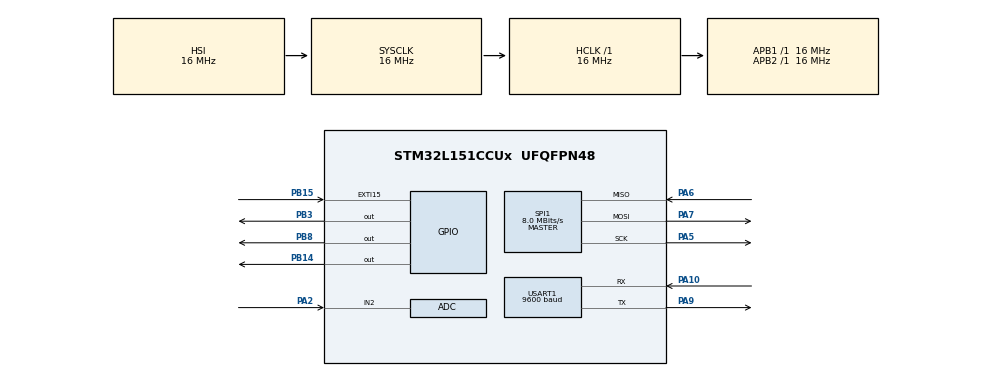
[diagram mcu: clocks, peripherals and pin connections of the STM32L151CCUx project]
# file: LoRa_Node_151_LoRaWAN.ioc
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Mcu.Family=STM32L1
PA6.Mode=Full_Duplex_Master
PH0-OSC_IN.Signal=RCC_OSC_IN
NVIC.DMA1_Channel5_IRQn=true\:0\:0\:false\:false\:true\:false\:true
SPI1.VirtualType=VM_MASTER
ADC.Rank-0\#ChannelRegularConversion=1
USART1.BaudRate=9600
VP_RTC_VS_RTC_Activate.Mode=RTC_Enabled
PB15.Signal=GPXTI15
VP_RTC_VS_RTC_Alarm_A_Intern.Mode=Alarm A
RCC.SYSCLKSource=RCC_SYSCLKSOURCE_HSI
ProjectManager.StackSize=0x400
Dma.USART1_TX.0.Priority=DMA_PRIORITY_LOW
Dma.USART1_TX.0.Direction=DMA_MEMORY_TO_PERIPH
SPI1.Direction=SPI_DIRECTION_2LINES
RCC.HCLKFreq_Value=16000000
RCC.APB2TimFreq_Value=16000000
SPI1.CalculateBaudRate=8.0 MBits/s
Dma.USART1_RX.1.MemInc=DMA_MINC_ENABLE
RCC.AHBFreq_Value=16000000
PH0-OSC_IN.Mode=HSE-External-Oscillator
NVIC.EXTI15_10_IRQn=true\:0\:0\:false\:false\:true\:true\:true
RCC.HSE_VALUE=8000000
Dma.USART1_RX.1.PeriphDataAlignment=DMA_PDATAALIGN_BYTE
RCC.RTCClockSelection=RCC_RTCCLKSOURCE_LSE
RCC.PLLMUL=RCC_PLL_MUL12
PC14-OSC32_IN.Mode=LSE-External-Oscillator
RCC.RTCClockSelectionVirtual=RCC_RTCCLKSOURCE_LSE
PA14.Mode=Serial_Wire
Dma.USART1_TX.0.PeriphDataAlignment=DMA_PDATAALIGN_BYTE
Dma.USART1_RX.1.Mode=DMA_NORMAL
PH1-OSC_OUT.Mode=HSE-External-Oscillator
Mcu.Package=UFQFPN48
PA6.Signal=SPI1_MISO
PA10.Signal=USART1_RX
VP_RTC_VS_RTC_Calendar.Mode=RTC_Calendar
ADC.Channel-0\#ChannelRegularConversion=ADC_CHANNEL_2
Dma.USART1_TX.0.Instance=DMA1_Channel4
Dma.USART1_RX.1.PeriphInc=DMA_PINC_DISABLE
Dma.Request1=USART1_RX
RCC.APB1TimFreq_Value=16000000
Dma.USART1_RX.1.Priority=DMA_PRIORITY_LOW
NVIC.DMA1_Channel4_IRQn=true\:0\:0\:false\:false\:true\:false\:true
NVIC.USART1_IRQn=true\:0\:0\:false\:false\:true\:true\:true
Dma.Request0=USART1_TX
PA5.Mode=Full_Duplex_Master
RCC.MSI_VALUE=2097000
RCC.PLLSourceVirtual=RCC_PLLSOURCE_HSE
PC15-OSC32_OUT.Mode=LSE-External-Oscillator
Dma.USART1_RX.1.Instance=DMA1_Channel5
Dma.USART1_RX.1.MemDataAlignment=DMA_MDATAALIGN_BYTE
Dma.USART1_TX.0.MemInc=DMA_MINC_ENABLE
PA7.Mode=Full_Duplex_Master
Dma.USART1_TX.0.PeriphInc=DMA_PINC_DISABLE
PA10.Mode=Asynchronous
PC14-OSC32_IN.Signal=RCC_OSC32_IN
PA13.Signal=SYS_JTMS-SWDIO
PA9.Mode=Asynchronous
PB14.PinState=GPIO_PIN_RESET
ProjectManager.TargetToolchain=STM32CubeIDE
PA9.Signal=USART1_TX
ADC.NbrOfConversionFlag=1
PC15-OSC32_OUT.Signal=RCC_OSC32_OUT
PB14.Signal=GPIO_Output
PA5.Signal=SPI1_SCK
PB15.GPIO_ModeDefaultEXTI=GPIO_MODE_IT_RISING
Dma.USART1_TX.0.Mode=DMA_NORMAL
board=custom
RCC.VCOOutputFreq_Value=96000000
RCC.APB2Freq_Value=16000000
SPI1.Mode=SPI_MODE_MASTER
PH1-OSC_OUT.Signal=RCC_OSC_OUT
PA13.Mode=Serial_Wire
Mcu.Name=STM32L151CCUx
RTC.Alarm-Alarm\ A=RTC_ALARM_A
PA2.Signal=ADC_IN2
RCC.48MHZClocksFreq_Value=48000000
PB3.Signal=GPIO_Output
RCC.SYSCLKFreq_VALUE=16000000
USART1.VirtualMode=VM_ASYNC
Dma.USART1_TX.0.MemDataAlignment=DMA_MDATAALIGN_BYTE
PA14.Signal=SYS_JTCK-SWCLK
ProjectManager.HeapSize=0x200
RCC.HSI_VALUE=16000000
NVIC.PriorityGroup=NVIC_PRIORITYGROUP_4
PA2.Mode=IN2
PB8.Signal=GPIO_Output
ADC.SamplingTime-0\#ChannelRegularConversion=ADC_SAMPLETIME_4CYCLES
Dma.USART1_RX.1.Direction=DMA_PERIPH_TO_MEMORY
RCC.APB1Freq_Value=16000000
PA7.Signal=SPI1_MOSI

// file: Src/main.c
/* USER CODE BEGIN Header */
/**
  ******************************************************************************
  * @file           : main.c
  * @brief          : Main program body
  ******************************************************************************
  * @attention
  *
  * <h2><center>&copy; Copyright (c) 2021 STMicroelectronics.
  * All rights reserved.</center></h2>
  *
  * This software component is licensed by ST under Ultimate Liberty license
  * SLA0044, the "License"; You may not use this file except in compliance with
  * the License. You may obtain a copy of the License at:
  *                             www.st.com/SLA0044
  *
  ******************************************************************************
  */
/* USER CODE END Header */
#include "main.h"

/* USER CODE BEGIN Includes */
#include "SAM_M8Q/SAM_M8Q.h"
#include <string.h>
#include <math.h>
#include "board.h"
#include "LoRaMac.h"
#include "Commissioning.h"
#include "LoRaWan_APP.h"
#include <stdint.h>

#include "Bewegungssensor.h"
/* USER CODE END Includes */

ADC_HandleTypeDef hadc;

RTC_HandleTypeDef hrtc;

SPI_HandleTypeDef hspi1;

UART_HandleTypeDef huart1;
DMA_HandleTypeDef hdma_usart1_tx;
DMA_HandleTypeDef hdma_usart1_rx;

/* USER CODE BEGIN PV */
//Dauer des Tiefschlafs in Millisekunden
const uint32_t DutyCycle = 60000;
//globale Variable für Erkennung, ob GNSS-Daten vom Sensor erhalten
bool DatenErhalten = false;

extern Gpio_t	EN_Vext;

//OTA-Activation EUIs und AppKey, vorgegeben vom LoRaWAN-Netzwerk
//Aus Sicherheitsgründen nicht angegeben in GitHub
uint8_t devEui[] = { 0x00, 0x00, 0x00, 0x00, 0x00, 0x00, 0x00, 0x00 };
uint8_t appEui[] = { 0x00, 0x00, 0x00, 0x00, 0x00, 0x00, 0x00, 0x00 };
uint8_t appKey[] = { 0x00, 0x00, 0x00, 0x00, 0x00, 0x00, 0x00, 0x00, 0x00, 0x00, 0x00, 0x00, 0x00, 0x00, 0x00, 0x00 };

/* ABP para*/ //unused
uint8_t nwkSKey[] = { 0x00, 0x00, 0x00, 0x00, 0x00, 0x00, 0x00, 0x00, 0x00, 0x00, 0x00, 0x00, 0x00, 0x00, 0x00, 0x00 };
uint8_t appSKey[] = { 0x00, 0x00, 0x00, 0x00, 0x00, 0x00, 0x00, 0x00, 0x00, 0x00, 0x00, 0x00, 0x00, 0x00, 0x00, 0x00 };
uint32_t devAddr =  ( uint32_t )0x00000000;

/*LoraWan channelsmask, default channels 0-7*/
uint16_t userChannelsMask[6]={ 0x00FF,0x0000,0x0000,0x0000,0x0000,0x0000 };

/*LoraWan region, select in arduino IDE tools*/
LoRaMacRegion_t loraWanRegion = LORAMAC_REGION_EU868;

/*LoraWan Class, Class A and Class C are supported*/
DeviceClass_t  loraWanClass = CLASS_A;

/*the application data transmission duty cycle.  value in [ms].*/
uint32_t appTxDutyCycle = DutyCycle;

/*OTAA or ABP*/
bool overTheAirActivation = true;

/*ADR enable*/
bool loraWanAdr = true;

/* Indicates if the node is sending confirmed or unconfirmed messages */
bool isTxConfirmed = true;

/* Application port */
uint8_t appPort = 2;
/*!
* Number of trials to transmit the frame, if the LoRaMAC layer did not
* receive an acknowledgment. The MAC performs a datarate adaptation,
* according to the LoRaWAN Specification V1.0.2, chapter 18.4, according
* to the following table:
*
* Transmission nb | Data Rate
* ----------------|-----------
* 1 (first)       | DR
* 2               | DR
* 3               | max(DR-1,0)
* 4               | max(DR-1,0)
* 5               | max(DR-2,0)
* 6               | max(DR-2,0)
* 7               | max(DR-3,0)
* 8               | max(DR-3,0)
*
* Note, that if NbTrials is set to 1 or 2, the MAC will not decrease
* the datarate, in case the LoRaMAC layer did not receive an acknowledgment
*/
uint8_t confirmedNbTrials = 1;

extern bool WurdeBewegt;
extern bool WurdeBestaetigt;
/* USER CODE END PV */

void SystemClock_Config(void);
static void MX_GPIO_Init(void);
static void MX_DMA_Init(void);
static void MX_RTC_Init(void);
static void MX_SPI1_Init(void);
static void MX_USART1_UART_Init(void);
static void MX_ADC_Init(void);
/* USER CODE BEGIN PFP */
extern void USB_VCP_init(void);

/* USER CODE END PFP */

/* USER CODE BEGIN 0 */
/*Erfassung des Standortes als Breiten- und Längengrad durch Kommunikation mit MatekSys SAM-M8Q GNSS-Modul

	-Aktivieren des Moduls
	-Erfassung vom Tickstand zum Start des Aufruf
	-Erfragung und Parsing eines Standortes beim GNSS-Modul mit SimpleMethod's GNSS-Bibliothek in einer While-Schleife
	-Falls der Standort nach den in der Antwort angegebenen Werten genau genug ist
		dann valide Standortdaten erhalten
		-> DatenErhalten auf wahr gesetzt
		-> Beenden der Schleife durch erneute Überprüfung der jetzt falschen Bedingung

	-Ansonsten aktuellen Tickstand erfassen
	-Differenz aus aktuellen Tickstand und Startstand berechnen
	-Falls Differenz größer als 400000 Millisekunden,
		dann brich Erfassung ab
		-> DatenErhalten auf Falsch gesetzt, Schleife mit break abgebrochen

	-Deaktivieren des Moduls
	-Falls Standortdaten erhalten,
		dann setze Payload-Größe der LoRa-Nachricht auf 8 Byte
		und kopiere den float-Wert des Breitengrads und des Längengrads in die Payload

	Keine Parameter
	Kein Rückgabewert
*/
static void prepareTxFrame(){
	//GNSS-Modul Power-On
	HAL_GPIO_WritePin(GPIOB, GPIO_PIN_3, GPIO_PIN_RESET);
	HAL_Delay(500);											//Warte für Initialisierung des Moduls

	uint32_t StartTimer = HAL_GetTick();					//Erfasse Startzeit
	uint32_t LoopTimer = 0;
	uint32_t TickDifferenz = 0;
	DatenErhalten = false;

	while(!DatenErhalten){
		GNSS_GetPVTData(&GNSS_Handle);						//Erfasse Standort
		GNSS_ParseBuffer(&GNSS_Handle);						//Parse erhaltene Antwort

		if(GNSS_Handle.hAcc > 5000 && GNSS_Handle.vAcc > 5000 &&
				GNSS_Handle.hAcc < 1000000 && GNSS_Handle.vAcc < 1000000){
			DatenErhalten = true;
			continue;
		}

		LoopTimer = HAL_GetTick();					//Erfasse Durchlaufszeit und die Differenz
		TickDifferenz = LoopTimer - StartTimer;

		//Falls Differenz größer als 400 Sekunden, dann brich Erfassung ab
		if(TickDifferenz>400000){
			break;
		}
		HAL_Delay(1000);
	}
	//GNSS-Modul Power-Off
	HAL_GPIO_WritePin(GPIOB, GPIO_PIN_3, GPIO_PIN_SET);

	if(DatenErhalten){
	    appDataSize = 8;
	    memcpy(&appData[0], &GNSS_Handle.fLat,4);
	    memcpy(&appData[4], &GNSS_Handle.fLon,4);
	}
}
/* USER CODE END 0 */

int main(void)
{

  /* MCU Configuration--------------------------------------------------------*/

  /* Reset of all peripherals, Initializes the Flash interface and the Systick. */
  HAL_Init();

  /* Configure the system clock */
  SystemClock_Config();

  /* Initialize all configured peripherals */
  MX_GPIO_Init();
  MX_DMA_Init();
  MX_RTC_Init();
  MX_SPI1_Init();
  MX_USART1_UART_Init();
  MX_ADC_Init();
  /* USER CODE BEGIN 2 */
  //Initialisierung des STM32 durch Heltec-Bibliothek
  //Clock, RTC, unbenutze GPIOs, SPI, LoRa-Chip SX1276
  BoardInitMcu();

  //Initialisierung der Bool-Variablen für den Bewegungssensor
  //BewegungInterruptAusgeloest = false;
  //WurdeBewegt = true;
  BewegungssensorInit();

  //globale Variable für Feststellung, ob Bestätigung vom LoRaWAN-Netzwerk erhalten
  //auf Wahr, damit im Falle von unbestätigten Nachrichten keine Veränderungen vorgenommen werden müssen.
  WurdeBestaetigt = true;

  //Initialisierung des Struct für GNSS-Standorterfassung
  //alle Werte werden auf 0 gesetzt
  GNSS_Init(&GNSS_Handle, &huart1);

  //Initialisierungszustand für kommende switch-Maschine
  deviceState = DEVICE_STATE_INIT;
  HAL_Delay(1000);
  /* USER CODE END 2 */

  /* Infinite loop */
  /* USER CODE BEGIN WHILE */
  while (1)
  {
  	switch( deviceState )
		{
			case DEVICE_STATE_INIT:
			{
				//Einstellung des LoRa-Chips mit den oben definierten Variablen (Klasse, ISM-Band...)
				LoraWanInit(loraWanClass,loraWanRegion);

				//Übergang in Join-Zustand
				deviceState = DEVICE_STATE_JOIN;

				break;
			}
			case DEVICE_STATE_JOIN:
			{
				//Versuch, einem LoRaWAN-Netzwerk mit den festgelegten Aktivierungsmodus und den dazugehörigen EUIs/Schlüsseln beizutreten
				//Bei Erfolg, gehe in Send-Zustand
				//Ansonsten versuche erneut mit ggf angepasster Datenrate

				LoraWanJoin();
				break;
			}
			case DEVICE_STATE_SEND:
			{
				//Falls Bewegung erkannt,
				//dann Erfassung des Standortes
					//Falls Standort erfasst, dann Absenden der LoRa-Nachricht
					//und Aktivierung des Bewegungssensor (Zustandpins des Sensors auf High setzen)
				if(WurdeBewegt)
				{
					prepareTxFrame();
					if(DatenErhalten){
						LoraWanSend();
						HoleDenBewegungssensorAusDemSchlaf();
					}
				}

				//Übergang in den Cycle-Zustand
				deviceState = DEVICE_STATE_CYCLE;
				break;
			}
			case DEVICE_STATE_CYCLE:
			{
				// Schedule next packet transmission
				txDutyCycleTime = appTxDutyCycle + randr( 0, APP_TX_DUTYCYCLE_RND );

				//Aktivierung eines Timers für das Aufwachen aus dem Tiefschlaf
				//Nach Ablauf des Timers Prüfung ob im Netzwerk beigetreten
					//Falls dem der Fall ist, dann Übergang in Send-Zustand
					//ansonsten erneuter Join-Beitrittsversuch und
					//je nach Resultat (bei Erfolg) Übergang in Sleep- oder (bei Fehlschlag) in Cycle-Zustand

				//Falls Standort erfasst und Bestätigung erhalten, dann normale Schlafdauer und zurücksetzen der Prüfvariablen auf Falsch
				//Ansonsten halbe Schlafszeit für erneuten Versuch

				if(DatenErhalten && WurdeBestaetigt){
					LoraWanCycle(txDutyCycleTime);
					WurdeBewegt = false;					//Erfasste Bewegung erfolgreich abgearbeitet und Standort übermittelt, neue darf erfasst werden.
				}else{
					LoraWanCycle(txDutyCycleTime/2);
				}
				WurdeBestaetigt = false;
				GNSSDataReset(&GNSS_Handle);
				//Übergang in den Sleep-Zustand
				deviceState = DEVICE_STATE_SLEEP;
				break;
			}
			case DEVICE_STATE_SLEEP:
			{
				//Aktivierung des Tiefschlafes (inklusive deaktivieren des SysTick Timers für Verhinderung eines Interrupts)
				//Nach dem Aufwachen befindet sich die Ausführung nach der Funktion
				TimerLowPowerHandler( );

				//Prüfe, ob der Interrupt des Bewegungssensors aktiviert wurde
					//Ist dem so, dann setze WurdeBewegt auf wahr, setze den Sensor in den Schlafmodus
					//und gehe erneut in den Tiefschlaf zum Aufwachen durch den Timer
				PruefeInterruptStatus();
				break;
			}
			default:
			{
				deviceState = DEVICE_STATE_INIT;
				break;
			}
		}
	//*/
    /* USER CODE END WHILE */

  }
}

void SystemClock_Config(void)
{
  RCC_OscInitTypeDef RCC_OscInitStruct = {0};
  RCC_ClkInitTypeDef RCC_ClkInitStruct = {0};
  RCC_PeriphCLKInitTypeDef PeriphClkInit = {0};

  /** Configure the main internal regulator output voltage
  */
  __HAL_PWR_VOLTAGESCALING_CONFIG(PWR_REGULATOR_VOLTAGE_SCALE1);
  /** Initializes the RCC Oscillators according to the specified parameters
  * in the RCC_OscInitTypeDef structure.
  */
  RCC_OscInitStruct.OscillatorType = RCC_OSCILLATORTYPE_HSI|RCC_OSCILLATORTYPE_LSE;
  RCC_OscInitStruct.LSEState = RCC_LSE_ON;
  RCC_OscInitStruct.HSIState = RCC_HSI_ON;
  RCC_OscInitStruct.HSICalibrationValue = RCC_HSICALIBRATION_DEFAULT;
  RCC_OscInitStruct.PLL.PLLState = RCC_PLL_NONE;
  if (HAL_RCC_OscConfig(&RCC_OscInitStruct) != HAL_OK)
  {
    Error_Handler();
  }
  /** Initializes the CPU, AHB and APB buses clocks
  */
  RCC_ClkInitStruct.ClockType = RCC_CLOCKTYPE_HCLK|RCC_CLOCKTYPE_SYSCLK
                              |RCC_CLOCKTYPE_PCLK1|RCC_CLOCKTYPE_PCLK2;
  RCC_ClkInitStruct.SYSCLKSource = RCC_SYSCLKSOURCE_HSI;
  RCC_ClkInitStruct.AHBCLKDivider = RCC_SYSCLK_DIV1;
  RCC_ClkInitStruct.APB1CLKDivider = RCC_HCLK_DIV1;
  RCC_ClkInitStruct.APB2CLKDivider = RCC_HCLK_DIV1;

  if (HAL_RCC_ClockConfig(&RCC_ClkInitStruct, FLASH_LATENCY_0) != HAL_OK)
  {
    Error_Handler();
  }
  PeriphClkInit.PeriphClockSelection = RCC_PERIPHCLK_RTC;
  PeriphClkInit.RTCClockSelection = RCC_RTCCLKSOURCE_LSE;
  if (HAL_RCCEx_PeriphCLKConfig(&PeriphClkInit) != HAL_OK)
  {
    Error_Handler();
  }
}

static void MX_ADC_Init(void)
{

  ADC_ChannelConfTypeDef sConfig = {0};

  /** Configure the global features of the ADC (Clock, Resolution, Data Alignment and number of conversion)
  */
  hadc.Instance = ADC1;
  hadc.Init.ClockPrescaler = ADC_CLOCK_ASYNC_DIV1;
  hadc.Init.Resolution = ADC_RESOLUTION_12B;
  hadc.Init.DataAlign = ADC_DATAALIGN_RIGHT;
  hadc.Init.ScanConvMode = ADC_SCAN_DISABLE;
  hadc.Init.EOCSelection = ADC_EOC_SEQ_CONV;
  hadc.Init.LowPowerAutoWait = ADC_AUTOWAIT_DISABLE;
  hadc.Init.LowPowerAutoPowerOff = ADC_AUTOPOWEROFF_DISABLE;
  hadc.Init.ChannelsBank = ADC_CHANNELS_BANK_A;
  hadc.Init.ContinuousConvMode = DISABLE;
  hadc.Init.NbrOfConversion = 1;
  hadc.Init.DiscontinuousConvMode = DISABLE;
  hadc.Init.ExternalTrigConv = ADC_SOFTWARE_START;
  hadc.Init.ExternalTrigConvEdge = ADC_EXTERNALTRIGCONVEDGE_NONE;
  hadc.Init.DMAContinuousRequests = DISABLE;
  if (HAL_ADC_Init(&hadc) != HAL_OK)
  {
    Error_Handler();
  }
  /** Configure for the selected ADC regular channel its corresponding rank in the sequencer and its sample time.
  */
  sConfig.Channel = ADC_CHANNEL_2;
  sConfig.Rank = ADC_REGULAR_RANK_1;
  sConfig.SamplingTime = ADC_SAMPLETIME_4CYCLES;
  if (HAL_ADC_ConfigChannel(&hadc, &sConfig) != HAL_OK)
  {
    Error_Handler();
  }

}

static void MX_RTC_Init(void)
{

  RTC_TimeTypeDef sTime = {0};
  RTC_DateTypeDef sDate = {0};
  RTC_AlarmTypeDef sAlarm = {0};

  /** Initialize RTC Only
  */
  hrtc.Instance = RTC;
  hrtc.Init.HourFormat = RTC_HOURFORMAT_24;
  hrtc.Init.AsynchPrediv = 127;
  hrtc.Init.SynchPrediv = 255;
  hrtc.Init.OutPut = RTC_OUTPUT_DISABLE;
  hrtc.Init.OutPutPolarity = RTC_OUTPUT_POLARITY_HIGH;
  hrtc.Init.OutPutType = RTC_OUTPUT_TYPE_OPENDRAIN;
  if (HAL_RTC_Init(&hrtc) != HAL_OK)
  {
    Error_Handler();
  }

  /** Initialize RTC and set the Time and Date
  */
  sTime.Hours = 0x0;
  sTime.Minutes = 0x0;
  sTime.Seconds = 0x0;
  sTime.DayLightSaving = RTC_DAYLIGHTSAVING_NONE;
  sTime.StoreOperation = RTC_STOREOPERATION_RESET;
  if (HAL_RTC_SetTime(&hrtc, &sTime, RTC_FORMAT_BCD) != HAL_OK)
  {
    Error_Handler();
  }
  sDate.WeekDay = RTC_WEEKDAY_MONDAY;
  sDate.Month = RTC_MONTH_JANUARY;
  sDate.Date = 0x1;
  sDate.Year = 0x0;

  if (HAL_RTC_SetDate(&hrtc, &sDate, RTC_FORMAT_BCD) != HAL_OK)
  {
    Error_Handler();
  }
  /** Enable the Alarm A
  */
  sAlarm.AlarmTime.Hours = 0x0;
  sAlarm.AlarmTime.Minutes = 0x0;
  sAlarm.AlarmTime.Seconds = 0x0;
  sAlarm.AlarmTime.SubSeconds = 0x0;
  sAlarm.AlarmTime.DayLightSaving = RTC_DAYLIGHTSAVING_NONE;
  sAlarm.AlarmTime.StoreOperation = RTC_STOREOPERATION_RESET;
  sAlarm.AlarmMask = RTC_ALARMMASK_NONE;
  sAlarm.AlarmSubSecondMask = RTC_ALARMSUBSECONDMASK_ALL;
  sAlarm.AlarmDateWeekDaySel = RTC_ALARMDATEWEEKDAYSEL_DATE;
  sAlarm.AlarmDateWeekDay = 0x1;
  sAlarm.Alarm = RTC_ALARM_A;
  if (HAL_RTC_SetAlarm(&hrtc, &sAlarm, RTC_FORMAT_BCD) != HAL_OK)
  {
    Error_Handler();
  }

}

static void MX_SPI1_Init(void)
{

  /* SPI1 parameter configuration*/
  hspi1.Instance = SPI1;
  hspi1.Init.Mode = SPI_MODE_MASTER;
  hspi1.Init.Direction = SPI_DIRECTION_2LINES;
  hspi1.Init.DataSize = SPI_DATASIZE_8BIT;
  hspi1.Init.CLKPolarity = SPI_POLARITY_LOW;
  hspi1.Init.CLKPhase = SPI_PHASE_1EDGE;
  hspi1.Init.NSS = SPI_NSS_SOFT;
  hspi1.Init.BaudRatePrescaler = SPI_BAUDRATEPRESCALER_2;
  hspi1.Init.FirstBit = SPI_FIRSTBIT_MSB;
  hspi1.Init.TIMode = SPI_TIMODE_DISABLE;
  hspi1.Init.CRCCalculation = SPI_CRCCALCULATION_DISABLE;
  hspi1.Init.CRCPolynomial = 10;
  if (HAL_SPI_Init(&hspi1) != HAL_OK)
  {
    Error_Handler();
  }

}

static void MX_USART1_UART_Init(void)
{

  huart1.Instance = USART1;
  huart1.Init.BaudRate = 9600;
  huart1.Init.WordLength = UART_WORDLENGTH_8B;
  huart1.Init.StopBits = UART_STOPBITS_1;
  huart1.Init.Parity = UART_PARITY_NONE;
  huart1.Init.Mode = UART_MODE_TX_RX;
  huart1.Init.HwFlowCtl = UART_HWCONTROL_NONE;
  huart1.Init.OverSampling = UART_OVERSAMPLING_16;
  if (HAL_UART_Init(&huart1) != HAL_OK)
  {
    Error_Handler();
  }

}

static void MX_DMA_Init(void)
{

  /* DMA controller clock enable */
  __HAL_RCC_DMA1_CLK_ENABLE();

  /* DMA interrupt init */
  /* DMA1_Channel4_IRQn interrupt configuration */
  HAL_NVIC_SetPriority(DMA1_Channel4_IRQn, 0, 0);
  HAL_NVIC_EnableIRQ(DMA1_Channel4_IRQn);
  /* DMA1_Channel5_IRQn interrupt configuration */
  HAL_NVIC_SetPriority(DMA1_Channel5_IRQn, 0, 0);
  HAL_NVIC_EnableIRQ(DMA1_Channel5_IRQn);

}

static void MX_GPIO_Init(void)
{
  GPIO_InitTypeDef GPIO_InitStruct = {0};

  /* GPIO Ports Clock Enable */
  __HAL_RCC_GPIOC_CLK_ENABLE();
  __HAL_RCC_GPIOH_CLK_ENABLE();
  __HAL_RCC_GPIOA_CLK_ENABLE();
  __HAL_RCC_GPIOB_CLK_ENABLE();

  /*Configure GPIO pin Output Level */
  HAL_GPIO_WritePin(GPIOB, GPIO_PIN_14|GPIO_PIN_8, GPIO_PIN_RESET);
  HAL_GPIO_WritePin(GPIOB, GPIO_PIN_3, GPIO_PIN_SET);

  /*Configure GPIO pins : PB14 PB3 PB8 */
  GPIO_InitStruct.Pin = GPIO_PIN_14|GPIO_PIN_3|GPIO_PIN_8;
  GPIO_InitStruct.Mode = GPIO_MODE_OUTPUT_PP;
  GPIO_InitStruct.Pull = GPIO_NOPULL;
  GPIO_InitStruct.Speed = GPIO_SPEED_FREQ_LOW;
  HAL_GPIO_Init(GPIOB, &GPIO_InitStruct);

  /*Configure GPIO pin : PB15 */
  GPIO_InitStruct.Pin = GPIO_PIN_15;
  GPIO_InitStruct.Mode = GPIO_MODE_IT_RISING;
  GPIO_InitStruct.Pull = GPIO_NOPULL;
  HAL_GPIO_Init(GPIOB, &GPIO_InitStruct);

  /* EXTI interrupt init*/
  HAL_NVIC_SetPriority(EXTI15_10_IRQn, 0, 0);
  HAL_NVIC_EnableIRQ(EXTI15_10_IRQn);

}

/* USER CODE BEGIN 4 */
void SetappTxDutyCycleInit(uint32_t newDutyCycle)
{
	appTxDutyCycle = newDutyCycle;
}
/* USER CODE END 4 */

void Error_Handler(void)
{
}

/************************ (C) COPYRIGHT STMicroelectronics *****END OF FILE****/
